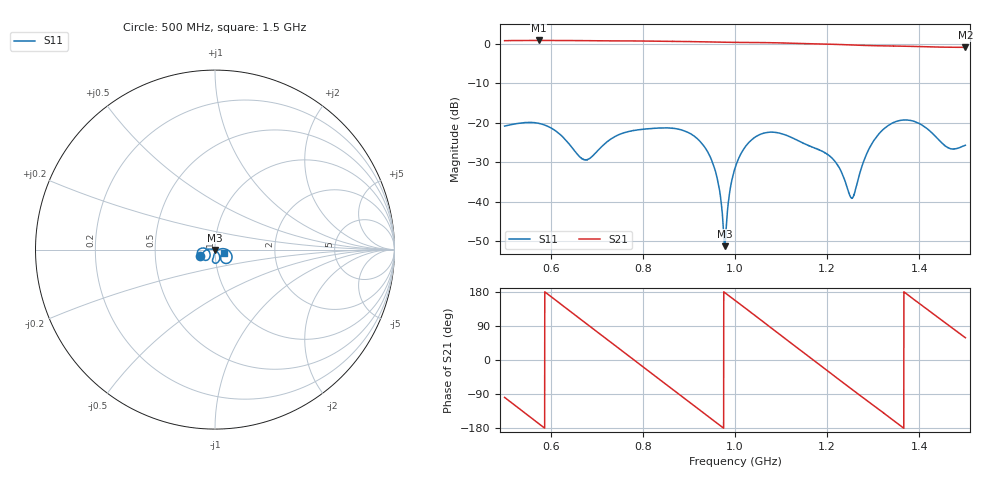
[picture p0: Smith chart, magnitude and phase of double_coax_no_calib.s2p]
# HZ S RI R 50
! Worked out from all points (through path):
!   3201 points, 500 MHz to 1.5 GHz, reference 50 ohm
!   highest |S21| = 0.88 dB at 574.1 MHz (marker M1); lowest = -0.9 dB at 1.5 GHz (marker M2)
!   group delay of S21, straight-line fit = 2.57 ns
!   lowest |S11| = -51.3 dB at 977.5 MHz (marker M3), VSWR 1.01, Z = 49.8 - j0.226 ohm
!   |S11| at or under -10 dB: start of sweep to end of sweep
!   S12 and S22 are empty: the file has one direction only
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5e8  -0.0837 -0.0354  -0.167 -1.087  0 0  0 0
5.740625e8  -0.0976 -0.0112  -1.082 -0.233  0 0  0 0
6.171875e8  -0.0733 0.00834  -0.9754 0.5196  0 0  0 0
6.66875e8  -0.0345 -0.00758  -0.2978 1.06  0 0  0 0
7.103125e8  -0.0286 -0.0405  0.4555 0.9965  0 0  0 0
7.59375e8  -0.0455 -0.0593  1.027 0.3732  0 0  0 0
7.953125e8  -0.0561 -0.0599  1.06 -0.2502  0 0  0 0
8.334375e8  -0.0649 -0.0556  0.7144 -0.8131  0 0  0 0
8.84375e8  -0.0729 -0.035  -0.1091 -1.068  0 0  0 0
9.365625e8  -0.0467 -0.00117  -0.8603 -0.6237  0 0  0 0
9.609375e8  -0.02 0.00331  -1.027 -0.2439  0 0  0 0
9.775e8  -0.00151 -0.00226  -1.05 0.036  0 0  0 0
1e9  0.0183 -0.0195  -0.9666 0.4021  0 0  0 0
1.079375e9  0.00243 -0.076  0.1098 1.03  0 0  0 0
1.1275e9  -0.0141 -0.0616  0.7909 0.643  0 0  0 0
1.166875e9  -0.0105 -0.0483  1.003 0.0489  0 0  0 0
1.254062e9  0.00773 -0.00807  0.2072 -0.9479  0 0  0 0
1.291562e9  0.0471 0.00515  -0.3554 -0.8853  0 0  0 0
1.333438e9  0.0902 -0.0228  -0.8158 -0.473  0 0  0 0
1.379688e9  0.0799 -0.0716  -0.9117 0.1957  0 0  0 0
1.43e9  0.0359 -0.0625  -0.4837 0.7785  0 0  0 0
1.5e9  0.0485 -0.0184  0.4712 0.7724  0 0  0 0
